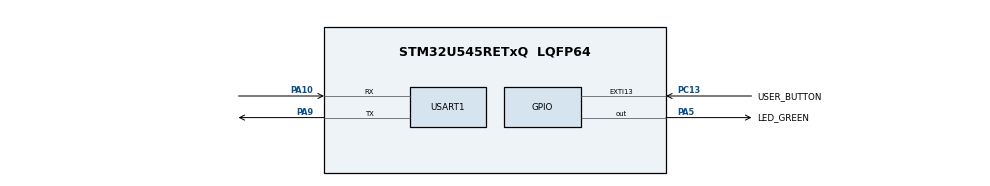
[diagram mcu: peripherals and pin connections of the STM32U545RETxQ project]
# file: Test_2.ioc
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CORTEX_M33_NS.userName=CORTEX_M33
Mcu.Family=STM32U5
Mcu.Name=STM32U545RETxQ
Mcu.Package=LQFP64
NVIC.EXTI13_IRQn=true\:0\:0\:false\:false\:true\:true\:true\:true
NVIC.PriorityGroup=NVIC_PRIORITYGROUP_4
NVIC.USART1_IRQn=true\:0\:0\:false\:false\:true\:true\:true\:true
PA10.Mode=Asynchronous
PA10.Signal=USART1_RX
PA5.GPIO_Label=LED_GREEN
PA5.GPIO_PuPd=GPIO_PULLUP
PA5.GPIO_Speed=GPIO_SPEED_FREQ_HIGH
PA5.Signal=GPIO_Output
PA9.Mode=Asynchronous
PA9.Signal=USART1_TX
PC13.GPIO_Label=USER_BUTTON
PC13.GPIO_ModeDefaultEXTI=GPIO_MODE_IT_FALLING
PC13.GPIO_PuPd=GPIO_PULLDOWN
PC13.Signal=GPXTI13
PWR.PowerMode=PWR_SMPS_SUPPLY
ProjectManager.HeapSize=0x200
ProjectManager.StackSize=0x400
ProjectManager.TargetToolchain=STM32CubeIDE
RCC.ADCFreq_Value=16000000
RCC.DACCLockSelectionVirtual=RCC_DAC1CLKSOURCE_LSI
RCC.DACCLockSelectionVirtualString=RCC_DAC1CLKSOURCE_LSI
RCC.EPOD_VALUE=4000000
RCC.HSE_VALUE=16000000
RCC.HSI48_VALUE=48000000
RCC.HSI_VALUE=16000000
RCC.LSE_VALUE=32768
RCC.LSIDIV_VALUE=32000
RCC.MSI_VALUE=4000000
RCC.USBFreq_Value=48000000
RCC.VCOOutputFreq_Value=516000000
USART1.VirtualMode-Asynchronous=VM_ASYNC
VP_ICACHE_VS_ICACHE.Mode=DirectMappedCache
VP_LPBAMQUEUE_VS_QUEUE.Mode=QUEUEMODE
VP_LPBAM_VS_SIG1.Mode=SmartRun
VP_LPBAM_VS_SIG4.Mode=LPDMA1
VP_MEMORYMAP_VS_MEMORYMAP.Mode=CurAppReg
VP_NUCLEO-U545RE-Q_VS_BSP_COMMON.Mode=COMMON
VP_PWR_VS_LPOM.Mode=PowerOptimisation
VP_PWR_VS_SECSignals.Mode=Security/Privilege
board=NUCLEO-U545RE-Q

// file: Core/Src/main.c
/* USER CODE BEGIN Header */
/**
  ******************************************************************************
  * @file           : main.c
  * @brief          : Main program body
  ******************************************************************************
  * @attention
  *
  * Copyright (c) 2025 STMicroelectronics.
  * All rights reserved.
  *
  * This software is licensed under terms that can be found in the LICENSE file
  * in the root directory of this software component.
  * If no LICENSE file comes with this software, it is provided AS-IS.
  *
  ******************************************************************************
  */
/* USER CODE END Header */
#include "main.h"
#include <stdbool.h>

UART_HandleTypeDef huart1;

/* USER CODE BEGIN PV */
uint32_t last_button_press_time = 0;
volatile bool button_pressed_flag = false;

bool send_message_one = true;
/* USER CODE END PV */

void SystemClock_Config(void);
static void SystemPower_Config(void);
static void MX_GPIO_Init(void);
static void MX_ICACHE_Init(void);
static void MX_USART1_UART_Init(void);

int main(void)
{

  /* MCU Configuration--------------------------------------------------------*/

  /* Reset of all peripherals, Initializes the Flash interface and the Systick. */
  HAL_Init();

  /* Configure the System Power */
  SystemPower_Config();

  /* Configure the system clock */
  SystemClock_Config();

  /* Initialize all configured peripherals */
  MX_GPIO_Init();
  MX_ICACHE_Init();
  MX_USART1_UART_Init();

  /* Infinite loop */
  while (1)
  {

    /* USER CODE BEGIN 3 */
	  if (button_pressed_flag)
	  {
		  button_pressed_flag = false;
		  uint8_t msg1[]="Sent from the main message 1 \n";
		  uint8_t msg2[]="Sent from the main message 2 \n";

		  if (send_message_one)
		  {
			  HAL_UART_Transmit(&huart1, msg1, sizeof(msg1)-1, 100);
		  }
		  else
		  {
			  HAL_UART_Transmit(&huart1, msg2, sizeof(msg2)-1, 100);
		  }
		  send_message_one = !send_message_one;
	  }
  }
  /* USER CODE END 3 */
}

void SystemClock_Config(void)
{
  RCC_OscInitTypeDef RCC_OscInitStruct = {0};
  RCC_ClkInitTypeDef RCC_ClkInitStruct = {0};

  /** Configure the main internal regulator output voltage
  */
  if (HAL_PWREx_ControlVoltageScaling(PWR_REGULATOR_VOLTAGE_SCALE4) != HAL_OK)
  {
    Error_Handler();
  }

  /** Initializes the CPU, AHB and APB buses clocks
  */
  RCC_OscInitStruct.OscillatorType = RCC_OSCILLATORTYPE_MSI;
  RCC_OscInitStruct.MSIState = RCC_MSI_ON;
  RCC_OscInitStruct.MSICalibrationValue = RCC_MSICALIBRATION_DEFAULT;
  RCC_OscInitStruct.MSIClockRange = RCC_MSIRANGE_4;
  RCC_OscInitStruct.PLL.PLLState = RCC_PLL_NONE;
  if (HAL_RCC_OscConfig(&RCC_OscInitStruct) != HAL_OK)
  {
    Error_Handler();
  }

  /** Initializes the CPU, AHB and APB buses clocks
  */
  RCC_ClkInitStruct.ClockType = RCC_CLOCKTYPE_HCLK|RCC_CLOCKTYPE_SYSCLK
                              |RCC_CLOCKTYPE_PCLK1|RCC_CLOCKTYPE_PCLK2
                              |RCC_CLOCKTYPE_PCLK3;
  RCC_ClkInitStruct.SYSCLKSource = RCC_SYSCLKSOURCE_MSI;
  RCC_ClkInitStruct.AHBCLKDivider = RCC_SYSCLK_DIV1;
  RCC_ClkInitStruct.APB1CLKDivider = RCC_HCLK_DIV1;
  RCC_ClkInitStruct.APB2CLKDivider = RCC_HCLK_DIV1;
  RCC_ClkInitStruct.APB3CLKDivider = RCC_HCLK_DIV1;

  if (HAL_RCC_ClockConfig(&RCC_ClkInitStruct, FLASH_LATENCY_0) != HAL_OK)
  {
    Error_Handler();
  }
}

/**
  * @brief Power Configuration
  * @retval None
  */
static void SystemPower_Config(void)
{

  /*
   * Switch to SMPS regulator instead of LDO
   */
  if (HAL_PWREx_ConfigSupply(PWR_SMPS_SUPPLY) != HAL_OK)
  {
    Error_Handler();
  }
}

static void MX_ICACHE_Init(void)
{

  /** Enable instruction cache in 1-way (direct mapped cache)
  */
  if (HAL_ICACHE_ConfigAssociativityMode(ICACHE_1WAY) != HAL_OK)
  {
    Error_Handler();
  }
  if (HAL_ICACHE_Enable() != HAL_OK)
  {
    Error_Handler();
  }

}

static void MX_USART1_UART_Init(void)
{

  huart1.Instance = USART1;
  huart1.Init.BaudRate = 115200;
  huart1.Init.WordLength = UART_WORDLENGTH_8B;
  huart1.Init.StopBits = UART_STOPBITS_1;
  huart1.Init.Parity = UART_PARITY_NONE;
  huart1.Init.Mode = UART_MODE_TX_RX;
  huart1.Init.HwFlowCtl = UART_HWCONTROL_NONE;
  huart1.Init.OverSampling = UART_OVERSAMPLING_16;
  huart1.Init.OneBitSampling = UART_ONE_BIT_SAMPLE_DISABLE;
  huart1.Init.ClockPrescaler = UART_PRESCALER_DIV1;
  huart1.AdvancedInit.AdvFeatureInit = UART_ADVFEATURE_NO_INIT;
  if (HAL_UART_Init(&huart1) != HAL_OK)
  {
    Error_Handler();
  }
  if (HAL_UARTEx_SetTxFifoThreshold(&huart1, UART_TXFIFO_THRESHOLD_1_8) != HAL_OK)
  {
    Error_Handler();
  }
  if (HAL_UARTEx_SetRxFifoThreshold(&huart1, UART_RXFIFO_THRESHOLD_1_8) != HAL_OK)
  {
    Error_Handler();
  }
  if (HAL_UARTEx_DisableFifoMode(&huart1) != HAL_OK)
  {
    Error_Handler();
  }

}

static void MX_GPIO_Init(void)
{
  GPIO_InitTypeDef GPIO_InitStruct = {0};

  /* GPIO Ports Clock Enable */
  __HAL_RCC_GPIOC_CLK_ENABLE();
  __HAL_RCC_GPIOA_CLK_ENABLE();

  /*Configure GPIO pin Output Level */
  HAL_GPIO_WritePin(LED_GREEN_GPIO_Port, LED_GREEN_Pin, GPIO_PIN_RESET);

  /*Configure GPIO pin : USER_BUTTON_Pin */
  GPIO_InitStruct.Pin = USER_BUTTON_Pin;
  GPIO_InitStruct.Mode = GPIO_MODE_IT_FALLING;
  GPIO_InitStruct.Pull = GPIO_PULLDOWN;
  HAL_GPIO_Init(USER_BUTTON_GPIO_Port, &GPIO_InitStruct);

  /*Configure GPIO pin : LED_GREEN_Pin */
  GPIO_InitStruct.Pin = LED_GREEN_Pin;
  GPIO_InitStruct.Mode = GPIO_MODE_OUTPUT_PP;
  GPIO_InitStruct.Pull = GPIO_PULLUP;
  GPIO_InitStruct.Speed = GPIO_SPEED_FREQ_HIGH;
  HAL_GPIO_Init(LED_GREEN_GPIO_Port, &GPIO_InitStruct);

  /* EXTI interrupt init*/
  HAL_NVIC_SetPriority(EXTI13_IRQn, 0, 0);
  HAL_NVIC_EnableIRQ(EXTI13_IRQn);

}

/* USER CODE BEGIN 4 */
void HAL_GPIO_EXTI_Falling_Callback(uint16_t GPIO_Pin)
{
	if (GPIO_Pin == GPIO_PIN_13)
	{
		if(HAL_GetTick() - last_button_press_time > 200)
		{
			button_pressed_flag = true;
			last_button_press_time =HAL_GetTick();
		}
	}
}
/* USER CODE END 4 */

void Error_Handler(void)
{
  __disable_irq();
  while (1)
  {
  }
}
